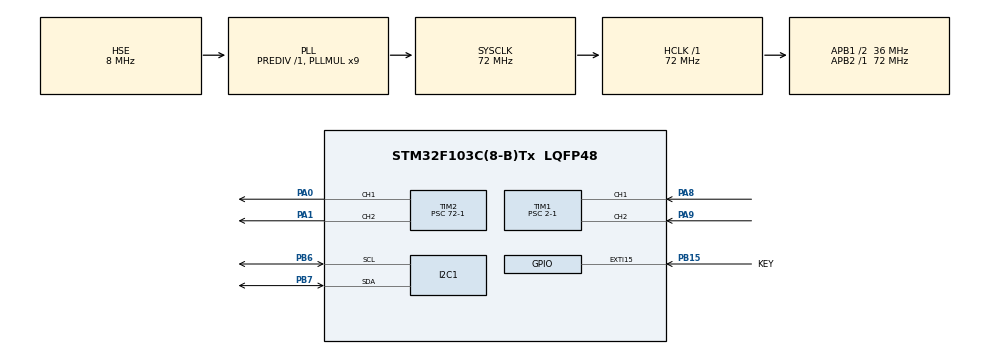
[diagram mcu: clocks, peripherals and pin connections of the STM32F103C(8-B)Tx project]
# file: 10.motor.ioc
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I2C1.I2C_Mode=I2C_Fast
Mcu.Family=STM32F1
Mcu.Name=STM32F103C(8-B)Tx
Mcu.Package=LQFP48
NVIC.EXTI15_10_IRQn=true\:15\:0\:true\:false\:true\:true\:true\:true
NVIC.PriorityGroup=NVIC_PRIORITYGROUP_4
PA0-WKUP.Signal=S_TIM2_CH1_ETR
PA1.Signal=S_TIM2_CH2
PA13.Mode=Serial_Wire
PA13.Signal=SYS_JTMS-SWDIO
PA14.Mode=Serial_Wire
PA14.Signal=SYS_JTCK-SWCLK
PA8.Signal=S_TIM1_CH1
PA9.Signal=S_TIM1_CH2
PB15.GPIO_Label=KEY
PB15.GPIO_ModeDefaultEXTI=GPIO_MODE_IT_FALLING
PB15.GPIO_PuPd=GPIO_PULLUP
PB15.Signal=GPXTI15
PB6.Mode=I2C
PB6.Signal=I2C1_SCL
PB7.Mode=I2C
PB7.Signal=I2C1_SDA
PD0-OSC_IN.Mode=HSE-External-Oscillator
PD0-OSC_IN.Signal=RCC_OSC_IN
PD1-OSC_OUT.Mode=HSE-External-Oscillator
PD1-OSC_OUT.Signal=RCC_OSC_OUT
ProjectManager.HeapSize=0x200
ProjectManager.StackSize=0x400
ProjectManager.TargetToolchain=CMake
RCC.AHBFreq_Value=72000000
RCC.APB1CLKDivider=RCC_HCLK_DIV2
RCC.APB1Freq_Value=36000000
RCC.APB1TimFreq_Value=72000000
RCC.APB2Freq_Value=72000000
RCC.APB2TimFreq_Value=72000000
RCC.HCLKFreq_Value=72000000
RCC.PLLMUL=RCC_PLL_MUL9
RCC.PLLSourceVirtual=RCC_PLLSOURCE_HSE
RCC.SYSCLKFreq_VALUE=72000000
RCC.SYSCLKSource=RCC_SYSCLKSOURCE_PLLCLK
RCC.USBFreq_Value=72000000
SH.S_TIM1_CH1.0=TIM1_CH1,Encoder_Interface
SH.S_TIM1_CH2.0=TIM1_CH2,Encoder_Interface
SH.S_TIM2_CH1_ETR.0=TIM2_CH1,PWM Generation1 CH1
SH.S_TIM2_CH2.0=TIM2_CH2,PWM Generation2 CH2
TIM1.IC1Filter=15
TIM1.IC2Filter=15
TIM1.IC2Polarity=TIM_ICPOLARITY_FALLING
TIM1.Prescaler=2-1
TIM2.Channel-PWM\ Generation1\ CH1=TIM_CHANNEL_1
TIM2.Channel-PWM\ Generation2\ CH2=TIM_CHANNEL_2
TIM2.Period=100-1
TIM2.Prescaler=72-1
VP_TIM2_VS_ClockSourceINT.Mode=Internal
board=custom

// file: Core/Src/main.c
/* USER CODE BEGIN Header */
/**
  ******************************************************************************
  * @file           : main.c
  * @brief          : Main program body
  ******************************************************************************
  * @attention
  *
  * Copyright (c) 2026 STMicroelectronics.
  * All rights reserved.
  *
  * This software is licensed under terms that can be found in the LICENSE file
  * in the root directory of this software component.
  * If no LICENSE file comes with this software, it is provided AS-IS.
  *
  ******************************************************************************
  */
/* USER CODE END Header */
#include "main.h"
#include "i2c.h"
#include "tim.h"
#include "gpio.h"

/* USER CODE BEGIN Includes */
#include "drv8833.h"
#include "oled.h"
#include <stdint.h>
#include <stdio.h>
/* USER CODE END Includes */

/* USER CODE BEGIN PD */
#define SPEED_MAX 20
#define SPEED_MIN 0
#define SPEED_MID (SPEED_MAX+SPEED_MIN)/2
#define SPEED_INITIAL 10-1
#define BASE 32767
/* USER CODE END PD */

/* USER CODE BEGIN PV */
uint8_t speed=SPEED_INITIAL;

/* USER CODE END PV */

void SystemClock_Config(void);

int main(void)
{

  /* MCU Configuration--------------------------------------------------------*/

  /* Reset of all peripherals, Initializes the Flash interface and the Systick. */
  HAL_Init();

  /* Configure the system clock */
  SystemClock_Config();

  /* Initialize all configured peripherals */
  MX_GPIO_Init();
  MX_TIM1_Init();
  MX_TIM2_Init();
  MX_I2C1_Init();
  /* USER CODE BEGIN 2 */
  HAL_Delay(100);
  OLED_Init();
  DRV8833_Init();
  HAL_TIM_Encoder_Start(&htim1, TIM_CHANNEL_ALL);
  __HAL_TIM_SET_COUNTER(&htim1, BASE+1);

  /* USER CODE END 2 */

  /* Infinite loop */
  while (1)
  {

    /* USER CODE BEGIN 3 */
    uint16_t counter=__HAL_TIM_GET_COUNTER(&htim1);
    int16_t diff=(int16_t)(counter-BASE);
    if(diff){
      int8_t newspeed=speed+diff;
      if(newspeed<0){
        speed=SPEED_MIN;
      }
      else if(newspeed>20){
        speed=SPEED_MAX;
      }
      else{
        speed=newspeed;
      }
      if(speed>SPEED_MID){
        DRV8833_Forward((speed-SPEED_MID)*10);
      }
      else if(speed<SPEED_MID){
        DRV8833_Backward((SPEED_MID-speed)*10);
      }
      else if(speed==SPEED_MID){
        DRV8833_Coast();
      }
      __HAL_TIM_SET_COUNTER(&htim1, BASE);
      char message[20]="";
      sprintf(message, "speed:%d",speed-SPEED_MID);
      OLED_NewFrame();
      OLED_PrintString(0, 0, message, &font16x16, OLED_COLOR_NORMAL);
      OLED_ShowFrame();
    }
  }
  /* USER CODE END 3 */
}

void SystemClock_Config(void)
{
  RCC_OscInitTypeDef RCC_OscInitStruct = {0};
  RCC_ClkInitTypeDef RCC_ClkInitStruct = {0};

  /** Initializes the RCC Oscillators according to the specified parameters
  * in the RCC_OscInitTypeDef structure.
  */
  RCC_OscInitStruct.OscillatorType = RCC_OSCILLATORTYPE_HSE;
  RCC_OscInitStruct.HSEState = RCC_HSE_ON;
  RCC_OscInitStruct.HSEPredivValue = RCC_HSE_PREDIV_DIV1;
  RCC_OscInitStruct.HSIState = RCC_HSI_ON;
  RCC_OscInitStruct.PLL.PLLState = RCC_PLL_ON;
  RCC_OscInitStruct.PLL.PLLSource = RCC_PLLSOURCE_HSE;
  RCC_OscInitStruct.PLL.PLLMUL = RCC_PLL_MUL9;
  if (HAL_RCC_OscConfig(&RCC_OscInitStruct) != HAL_OK)
  {
    Error_Handler();
  }

  /** Initializes the CPU, AHB and APB buses clocks
  */
  RCC_ClkInitStruct.ClockType = RCC_CLOCKTYPE_HCLK|RCC_CLOCKTYPE_SYSCLK
                              |RCC_CLOCKTYPE_PCLK1|RCC_CLOCKTYPE_PCLK2;
  RCC_ClkInitStruct.SYSCLKSource = RCC_SYSCLKSOURCE_PLLCLK;
  RCC_ClkInitStruct.AHBCLKDivider = RCC_SYSCLK_DIV1;
  RCC_ClkInitStruct.APB1CLKDivider = RCC_HCLK_DIV2;
  RCC_ClkInitStruct.APB2CLKDivider = RCC_HCLK_DIV1;

  if (HAL_RCC_ClockConfig(&RCC_ClkInitStruct, FLASH_LATENCY_2) != HAL_OK)
  {
    Error_Handler();
  }
}

void Error_Handler(void)
{
  __disable_irq();
  while (1)
  {
  }
}
